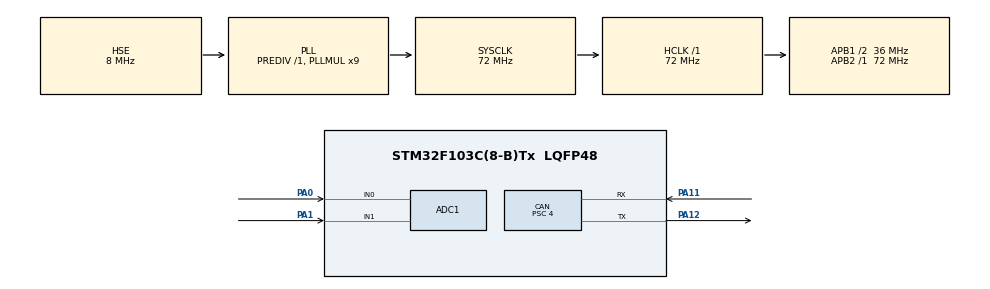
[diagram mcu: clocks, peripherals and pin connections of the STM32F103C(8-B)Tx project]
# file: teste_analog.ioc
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ADC1.Channel-0\#ChannelRegularConversion=ADC_CHANNEL_0
ADC1.ContinuousConvMode=ENABLE
ADC1.NbrOfConversion=1
ADC1.NbrOfConversionFlag=1
ADC1.Rank-0\#ChannelRegularConversion=1
ADC1.SamplingTime-0\#ChannelRegularConversion=ADC_SAMPLETIME_55CYCLES_5
ADC1.master=1
CAN.BS1=CAN_BS1_15TQ
CAN.BS2=CAN_BS2_2TQ
CAN.CalculateBaudRate=500000
CAN.CalculateTimeBit=2000
CAN.CalculateTimeQuantum=111.11111111111111
CAN.Prescaler=4
Mcu.Family=STM32F1
Mcu.Name=STM32F103C(8-B)Tx
Mcu.Package=LQFP48
NVIC.PriorityGroup=NVIC_PRIORITYGROUP_4
PA0-WKUP.Signal=ADCx_IN0
PA1.Signal=ADCx_IN1
PA11.Mode=CAN_Activate
PA11.Signal=CAN_RX
PA12.Mode=CAN_Activate
PA12.Signal=CAN_TX
PA13.Mode=Serial_Wire
PA13.Signal=SYS_JTMS-SWDIO
PA14.Mode=Serial_Wire
PA14.Signal=SYS_JTCK-SWCLK
PD0-OSC_IN.Mode=HSE-External-Oscillator
PD0-OSC_IN.Signal=RCC_OSC_IN
PD1-OSC_OUT.Mode=HSE-External-Oscillator
PD1-OSC_OUT.Signal=RCC_OSC_OUT
ProjectManager.HeapSize=0x200
ProjectManager.StackSize=0x400
ProjectManager.TargetToolchain=STM32CubeIDE
RCC.ADCPresc=RCC_ADCPCLK2_DIV6
RCC.AHBFreq_Value=72000000
RCC.APB1CLKDivider=RCC_HCLK_DIV2
RCC.APB1Freq_Value=36000000
RCC.APB1TimFreq_Value=72000000
RCC.APB2Freq_Value=72000000
RCC.APB2TimFreq_Value=72000000
RCC.HCLKFreq_Value=72000000
RCC.PLLMUL=RCC_PLL_MUL9
RCC.PLLSourceVirtual=RCC_PLLSOURCE_HSE
RCC.SYSCLKFreq_VALUE=72000000
RCC.SYSCLKSource=RCC_SYSCLKSOURCE_PLLCLK
RCC.USBFreq_Value=72000000
SH.ADCx_IN0.0=ADC1_IN0,IN0
SH.ADCx_IN1.0=ADC1_IN1,IN1
board=custom

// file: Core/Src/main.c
/* USER CODE BEGIN Header */
/**
  ******************************************************************************
  * @file           : main.c
  * @brief          : Nó Analógico — Hall Acel/Freio + Pressão Freio Diant/Tras
  *
  * Sistema de Telemetria UFS-01B | Fórmula Route UFSCar
  *
  * Frame CAN transmitido (conforme Documento de Decisões Técnicas v2.0):
  *
  *   ID 0x202 | DLC 8 | hall_acel_H,   hall_acel_L,
  *                       hall_freio_H,  hall_freio_L,
  *                       pfreio_diant_H, pfreio_diant_L,
  *                       pfreio_tras_H,  pfreio_tras_L
  *
  * Bit rate CAN : 500 kbps  (PCLK1 = 36 MHz, Prescaler=4, BS1=15TQ, BS2=2TQ)
  * Pinos CAN    : PA11 = CAN_RX  |  PA12 = CAN_TX
  *
  * Sensores:
  *   PA0 → Hall Acelerador          (0–5V analógico, ADC CH0)
  *   PA1 → Hall Freio               (0–5V analógico, ADC CH1)
  *   PA2 → Pressão Freio Dianteiro  (0–5V analógico, ADC CH2)
  *   PA3 → Pressão Freio Traseiro   (0–5V analógico, ADC CH3)
  *
  * ADC:
  *   Resolução  : 12 bits (0–4095)
  *   Scan Mode  : ENABLE (leitura sequencial de 4 canais)
  *   Clock ADC  : APB2/6 = 72 MHz / 6 = 12 MHz
  *   Sampling   : 55.5 ciclos → ~4.6 µs por canal
  *
  * Conversão no receptor:
  *   valor_pct = (adc_raw * 99.0) / 4095.0   → 0–99%
  *
  * Taxa de envio : 50 Hz (20 ms) conforme documento
  ******************************************************************************
  */
/* USER CODE END Header */

#include "main.h"
#include <string.h>

/* USER CODE BEGIN PTD */

/** @brief Códigos de erro do sistema para diagnóstico via LED */
typedef enum {
    ERR_NONE     = 0,
    ERR_ADC_INIT = 1,   /* Falha na inicialização do ADC                     */
    ERR_ADC_READ = 2,   /* Timeout ou falha na conversão ADC                 */
    ERR_CAN_INIT = 3,   /* Falha na inicialização do periférico CAN          */
    ERR_CAN_TX   = 4,   /* Timeout ao transmitir frame CAN (sem ACK?)        */
    ERR_HAL      = 5    /* Erro genérico da HAL                              */
} SystemError_t;

/** @brief Leitura raw dos sensores analógicos (12 bits, 0–4095) */
typedef struct {
    uint16_t hallAcel;      /* PA0 → Hall Acelerador                */
    uint16_t hallFreio;     /* PA1 → Hall Freio                     */
    uint16_t pFreioDiant;   /* PA2 → Pressão Freio Dianteiro        */
    uint16_t pFreioTras;    /* PA3 → Pressão Freio Traseiro         */
} LeituraAnalog_t;

/* USER CODE END PTD */

/* USER CODE BEGIN PD */

/* ---------- CAN ID (Documento v2.0) ---------- */
#define CAN_ID_PEDAIS         0x202   /* Hall Acel + Freio (DLC 8)            */

/* ---------- Temporização ---------- */
#define ADC_PERIOD_MS         20      /* 50 Hz conforme documento             */
#define CAN_TX_TIMEOUT_MS     5       /* Timeout para esperar mailbox livre   */
#define ADC_POLL_TIMEOUT_MS   10      /* Timeout para conversão ADC           */

/* ---------- ADC ---------- */
#define ADC_NUM_CHANNELS      4       /* CH0=Acel, CH1=Freio, CH2=PFrDiant, CH3=PFrTras */

/* ---------- Filtro média móvel (anti-ruído) ---------- */
#define ADC_FILTER_SAMPLES    4       /* Média de 4 leituras por ciclo        */

/* ---------- LED Heartbeat (PC13 na Blue Pill, ativo LOW) ---------- */
#define LED_PORT              GPIOC
#define LED_PIN               GPIO_PIN_13

/* USER CODE END PD */

ADC_HandleTypeDef hadc1;
CAN_HandleTypeDef hcan;

/* USER CODE BEGIN PV */
static volatile SystemError_t g_lastError    = ERR_NONE;
static volatile uint32_t      g_canTxErrors  = 0;
static volatile uint32_t      g_adcErrors    = 0;
/* USER CODE END PV */

void SystemClock_Config(void);
static void MX_GPIO_Init(void);
static void MX_ADC1_Init(void);
static void MX_CAN_Init(void);

/* USER CODE BEGIN PFP */
static HAL_StatusTypeDef ADC_ReadAll(LeituraAnalog_t *out);
static HAL_StatusTypeDef ADC_ReadFiltered(LeituraAnalog_t *out);
static HAL_StatusTypeDef CAN_SendPedais(const LeituraAnalog_t *analog);
static HAL_StatusTypeDef CAN_WaitMailbox(uint32_t timeout_ms);
static void              ErrorBlink(SystemError_t code);
/* USER CODE END PFP */

/* USER CODE BEGIN 0 */

/* ==========================================================================
 * ADC — Leitura sequencial de 2 canais via Scan Mode
 *
 * CORREÇÕES vs. código original:
 *   1. ScanConvMode mudado de DISABLE → ENABLE
 *   2. NbrOfConversion mudado de 1 → 2
 *   3. DMA removido (nunca estava conectado ao ADC, gerava IRQ fantasma)
 *   4. Timeout de 10ms por canal em vez de HAL_MAX_DELAY
 *   5. Adicionada média móvel de 4 amostras para reduzir ruído
 * ========================================================================== */

/**
 * @brief  Lê os 4 canais ADC sequencialmente.
 *
 *         CH0 → PA0 → Hall Acelerador
 *         CH1 → PA1 → Hall Freio
 *         CH2 → PA2 → Pressão Freio Dianteiro
 *         CH3 → PA3 → Pressão Freio Traseiro
 *
 * @param  out  Ponteiro para estrutura de saída com valores raw (0–4095)
 * @retval HAL_OK em sucesso, HAL_ERROR/HAL_TIMEOUT em falha
 */
static HAL_StatusTypeDef ADC_ReadAll(LeituraAnalog_t *out)
{
    ADC_ChannelConfTypeDef sConfig = {0};
    HAL_StatusTypeDef status;

    sConfig.SamplingTime = ADC_SAMPLETIME_55CYCLES_5;
    sConfig.Rank         = ADC_REGULAR_RANK_1;

    /* ===== Canal 0: Hall Acelerador (PA0) ===== */
    sConfig.Channel = ADC_CHANNEL_0;
    if (HAL_ADC_ConfigChannel(&hadc1, &sConfig) != HAL_OK) {
        g_adcErrors++;
        memset(out, 0, sizeof(*out));
        return HAL_ERROR;
    }

    if (HAL_ADC_Start(&hadc1) != HAL_OK) {
        g_adcErrors++;
        memset(out, 0, sizeof(*out));
        return HAL_ERROR;
    }

    status = HAL_ADC_PollForConversion(&hadc1, ADC_POLL_TIMEOUT_MS);
    if (status != HAL_OK) {
        g_adcErrors++;
        HAL_ADC_Stop(&hadc1);
        memset(out, 0, sizeof(*out));
        return status;
    }
    out->hallAcel = (uint16_t)HAL_ADC_GetValue(&hadc1);
    HAL_ADC_Stop(&hadc1);

    /* ===== Canal 1: Hall Freio (PA1) ===== */
    sConfig.Channel = ADC_CHANNEL_1;
    if (HAL_ADC_ConfigChannel(&hadc1, &sConfig) != HAL_OK) {
        g_adcErrors++;
        out->hallFreio = 0;
        return HAL_ERROR;
    }

    if (HAL_ADC_Start(&hadc1) != HAL_OK) {
        g_adcErrors++;
        out->hallFreio = 0;
        return HAL_ERROR;
    }

    status = HAL_ADC_PollForConversion(&hadc1, ADC_POLL_TIMEOUT_MS);
    if (status != HAL_OK) {
        g_adcErrors++;
        HAL_ADC_Stop(&hadc1);
        out->hallFreio = 0;
        return status;
    }
    out->hallFreio = (uint16_t)HAL_ADC_GetValue(&hadc1);
    HAL_ADC_Stop(&hadc1);

    /* ===== Canal 2: Pressão Freio Dianteiro (PA2) ===== */
    sConfig.Channel = ADC_CHANNEL_2;
    if (HAL_ADC_ConfigChannel(&hadc1, &sConfig) != HAL_OK) {
        g_adcErrors++;
        out->pFreioDiant = 0;
        return HAL_ERROR;
    }

    if (HAL_ADC_Start(&hadc1) != HAL_OK) {
        g_adcErrors++;
        out->pFreioDiant = 0;
        return HAL_ERROR;
    }

    status = HAL_ADC_PollForConversion(&hadc1, ADC_POLL_TIMEOUT_MS);
    if (status != HAL_OK) {
        g_adcErrors++;
        HAL_ADC_Stop(&hadc1);
        out->pFreioDiant = 0;
        return status;
    }
    out->pFreioDiant = (uint16_t)HAL_ADC_GetValue(&hadc1);
    HAL_ADC_Stop(&hadc1);

    /* ===== Canal 3: Pressão Freio Traseiro (PA3) ===== */
    sConfig.Channel = ADC_CHANNEL_3;
    if (HAL_ADC_ConfigChannel(&hadc1, &sConfig) != HAL_OK) {
        g_adcErrors++;
        out->pFreioTras = 0;
        return HAL_ERROR;
    }

    if (HAL_ADC_Start(&hadc1) != HAL_OK) {
        g_adcErrors++;
        out->pFreioTras = 0;
        return HAL_ERROR;
    }

    status = HAL_ADC_PollForConversion(&hadc1, ADC_POLL_TIMEOUT_MS);
    if (status != HAL_OK) {
        g_adcErrors++;
        HAL_ADC_Stop(&hadc1);
        out->pFreioTras = 0;
        return status;
    }
    out->pFreioTras = (uint16_t)HAL_ADC_GetValue(&hadc1);
    HAL_ADC_Stop(&hadc1);

    return HAL_OK;
}

/**
 * @brief  Lê os 2 canais ADC com média móvel de N amostras.
 *         Reduz ruído do sinal analógico sem custo de hardware.
 *
 * @param  out  Ponteiro para estrutura com média dos valores raw
 * @retval HAL_OK se todas as leituras OK, último erro caso contrário
 */
static HAL_StatusTypeDef ADC_ReadFiltered(LeituraAnalog_t *out)
{
    uint32_t sumAcel        = 0;
    uint32_t sumFreio       = 0;
    uint32_t sumPFreioDiant = 0;
    uint32_t sumPFreioTras  = 0;
    uint8_t  validSamples = 0;
    HAL_StatusTypeDef lastStatus = HAL_OK;

    for (uint8_t i = 0; i < ADC_FILTER_SAMPLES; i++) {
        LeituraAnalog_t raw;
        HAL_StatusTypeDef status = ADC_ReadAll(&raw);

        if (status == HAL_OK) {
            sumAcel        += raw.hallAcel;
            sumFreio       += raw.hallFreio;
            sumPFreioDiant += raw.pFreioDiant;
            sumPFreioTras  += raw.pFreioTras;
            validSamples++;
        } else {
            lastStatus = status;
        }
    }

    if (validSamples > 0) {
        out->hallAcel     = (uint16_t)(sumAcel        / validSamples);
        out->hallFreio    = (uint16_t)(sumFreio       / validSamples);
        out->pFreioDiant  = (uint16_t)(sumPFreioDiant / validSamples);
        out->pFreioTras   = (uint16_t)(sumPFreioTras  / validSamples);
        return HAL_OK;
    }

    /* Nenhuma leitura válida */
    memset(out, 0, sizeof(*out));
    return lastStatus;
}

/* ==========================================================================
 * CAN — Transmissão conforme Documento de Decisões Técnicas v2.0
 *
 *  Frame 0x202 (DLC 8):
 *    Bytes 0-1: Hall Acelerador          (big-endian, 0–4095)
 *    Bytes 2-3: Hall Freio               (big-endian, 0–4095)
 *    Bytes 4-5: Pressão Freio Dianteiro  (big-endian, 0–4095)
 *    Bytes 6-7: Pressão Freio Traseiro   (big-endian, 0–4095)
 * ========================================================================== */

/**
 * @brief  Aguarda mailbox CAN livre com timeout.
 * @retval HAL_OK se mailbox disponível, HAL_TIMEOUT se esgotou.
 */
static HAL_StatusTypeDef CAN_WaitMailbox(uint32_t timeout_ms)
{
    uint32_t start = HAL_GetTick();

    while (HAL_CAN_GetTxMailboxesFreeLevel(&hcan) == 0) {
        if ((HAL_GetTick() - start) >= timeout_ms) {
            return HAL_TIMEOUT;
        }
    }
    return HAL_OK;
}

/**
 * @brief  Envia frame 0x202 com dados dos pedais.
 * @retval HAL_OK se enviado, HAL_ERROR/HAL_TIMEOUT caso contrário.
 */
static HAL_StatusTypeDef CAN_SendPedais(const LeituraAnalog_t *analog)
{
    CAN_TxHeaderTypeDef txHeader;
    uint8_t txData[8];
    uint32_t txMailbox;
    HAL_StatusTypeDef status;

    txHeader.StdId              = CAN_ID_PEDAIS;
    txHeader.DLC                = 8;
    txHeader.RTR                = CAN_RTR_DATA;
    txHeader.IDE                = CAN_ID_STD;
    txHeader.TransmitGlobalTime = DISABLE;
    txHeader.ExtId              = 0;

    /* Bytes 0-1: Hall Acelerador (big-endian) */
    txData[0] = (uint8_t)((analog->hallAcel  >> 8) & 0xFF);
    txData[1] = (uint8_t)( analog->hallAcel        & 0xFF);

    /* Bytes 2-3: Hall Freio (big-endian) */
    txData[2] = (uint8_t)((analog->hallFreio >> 8) & 0xFF);
    txData[3] = (uint8_t)( analog->hallFreio       & 0xFF);

    /* Bytes 4-5: Pressão Freio Dianteiro (big-endian) */
    txData[4] = (uint8_t)((analog->pFreioDiant >> 8) & 0xFF);
    txData[5] = (uint8_t)( analog->pFreioDiant       & 0xFF);

    /* Bytes 6-7: Pressão Freio Traseiro (big-endian) */
    txData[6] = (uint8_t)((analog->pFreioTras >> 8) & 0xFF);
    txData[7] = (uint8_t)( analog->pFreioTras       & 0xFF);

    if (CAN_WaitMailbox(CAN_TX_TIMEOUT_MS) != HAL_OK) {
        g_canTxErrors++;
        g_lastError = ERR_CAN_TX;
        return HAL_TIMEOUT;
    }

    status = HAL_CAN_AddTxMessage(&hcan, &txHeader, txData, &txMailbox);
    if (status != HAL_OK) {
        g_canTxErrors++;
        g_lastError = ERR_CAN_TX;
        return status;
    }

    return HAL_OK;
}

/* ==========================================================================
 * Error Handler com LED — pisca N vezes conforme código de erro
 *
 *   1 piscada  = ADC init falhou
 *   2 piscadas = ADC leitura falhou (timeout na conversão)
 *   3 piscadas = CAN init falhou
 *   4 piscadas = CAN TX timeout (sem ACK — outro nó não no barramento?)
 *   5 piscadas = HAL genérico
 *
 *   Padrão: pisca N vezes rápido, pausa 1s, repete.
 *   NUNCA RETORNA — é um trap de erro fatal.
 * ========================================================================== */
static void ErrorBlink(SystemError_t code)
{
    uint8_t n = (uint8_t)code;
    if (n == 0) n = 5;

    /* Garante que o LED está configurado mesmo se GPIO_Init falhou */
    __HAL_RCC_GPIOC_CLK_ENABLE();
    GPIO_InitTypeDef gpio = {0};
    gpio.Pin   = LED_PIN;
    gpio.Mode  = GPIO_MODE_OUTPUT_PP;
    gpio.Speed = GPIO_SPEED_FREQ_LOW;
    HAL_GPIO_Init(LED_PORT, &gpio);

    while (1) {
        for (uint8_t i = 0; i < n; i++) {
            HAL_GPIO_WritePin(LED_PORT, LED_PIN, GPIO_PIN_RESET); /* LED ON  */
            HAL_Delay(150);
            HAL_GPIO_WritePin(LED_PORT, LED_PIN, GPIO_PIN_SET);   /* LED OFF */
            HAL_Delay(150);
        }
        HAL_Delay(1000);
    }
}

/* USER CODE END 0 */

int main(void)
{
  /* MCU Configuration -------------------------------------------------------*/
  HAL_Init();
  SystemClock_Config();

  /* Initialize all configured peripherals */
  MX_GPIO_Init();
  MX_ADC1_Init();
  MX_CAN_Init();

  /* USER CODE BEGIN 2 */

  /* LED de heartbeat: acende durante init */
  HAL_GPIO_WritePin(LED_PORT, LED_PIN, GPIO_PIN_RESET); /* ON */

  /* Calibração do ADC (recomendado pelo Reference Manual antes do primeiro uso) */
  HAL_ADCEx_Calibration_Start(&hadc1);

  /* Configura filtro CAN: aceitar tudo (este nó só transmite) */
  CAN_FilterTypeDef canFilter = {0};
  canFilter.FilterBank           = 0;
  canFilter.FilterMode           = CAN_FILTERMODE_IDMASK;
  canFilter.FilterScale          = CAN_FILTERSCALE_32BIT;
  canFilter.FilterIdHigh         = 0x0000;
  canFilter.FilterIdLow          = 0x0000;
  canFilter.FilterMaskIdHigh     = 0x0000;
  canFilter.FilterMaskIdLow      = 0x0000;
  canFilter.FilterFIFOAssignment = CAN_RX_FIFO0;
  canFilter.FilterActivation     = ENABLE;
  canFilter.SlaveStartFilterBank = 14;

  if (HAL_CAN_ConfigFilter(&hcan, &canFilter) != HAL_OK) {
      g_lastError = ERR_CAN_INIT;
      ErrorBlink(ERR_CAN_INIT);
  }

  /* Inicia periférico CAN */
  if (HAL_CAN_Start(&hcan) != HAL_OK) {
      g_lastError = ERR_CAN_INIT;
      ErrorBlink(ERR_CAN_INIT);
  }

  /* Teste rápido do ADC: lê uma vez para validar que os canais respondem */
  {
      LeituraAnalog_t teste;
      HAL_StatusTypeDef adcTest = ADC_ReadAll(&teste);
      if (adcTest != HAL_OK) {
          g_lastError = ERR_ADC_READ;
          ErrorBlink(ERR_ADC_READ);
      }
  }

  /* LED apaga — init OK */
  HAL_GPIO_WritePin(LED_PORT, LED_PIN, GPIO_PIN_SET); /* OFF */

  /* USER CODE END 2 */

  /* Infinite loop -----------------------------------------------------------*/
  /* USER CODE BEGIN WHILE */

  uint32_t lastTick    = HAL_GetTick();
  uint32_t ledToggleCt = 0;

  while (1)
  {
      uint32_t now = HAL_GetTick();

      /* Controla período de 20 ms (50 Hz) sem drift acumulado */
      if ((now - lastTick) >= ADC_PERIOD_MS)
      {
          lastTick += ADC_PERIOD_MS;

          LeituraAnalog_t analog;

          /* Lê sensores com filtro de média — se falhar, envia zeros */
          ADC_ReadFiltered(&analog);

          /* Transmite pela CAN */
          CAN_SendPedais(&analog);

          /* Heartbeat: toggle LED a cada 500 ms (25 ciclos de 20 ms) */
          ledToggleCt++;
          if (ledToggleCt >= 25) {
              ledToggleCt = 0;
              HAL_GPIO_TogglePin(LED_PORT, LED_PIN);
          }
      }

    /* USER CODE END WHILE */
  }
}

void SystemClock_Config(void)
{
  RCC_OscInitTypeDef RCC_OscInitStruct       = {0};
  RCC_ClkInitTypeDef RCC_ClkInitStruct       = {0};
  RCC_PeriphCLKInitTypeDef PeriphClkInit      = {0};

  RCC_OscInitStruct.OscillatorType  = RCC_OSCILLATORTYPE_HSE;
  RCC_OscInitStruct.HSEState        = RCC_HSE_ON;
  RCC_OscInitStruct.HSEPredivValue  = RCC_HSE_PREDIV_DIV1;
  RCC_OscInitStruct.HSIState        = RCC_HSI_ON;
  RCC_OscInitStruct.PLL.PLLState    = RCC_PLL_ON;
  RCC_OscInitStruct.PLL.PLLSource   = RCC_PLLSOURCE_HSE;
  RCC_OscInitStruct.PLL.PLLMUL      = RCC_PLL_MUL9;
  if (HAL_RCC_OscConfig(&RCC_OscInitStruct) != HAL_OK)
  {
      Error_Handler();
  }

  RCC_ClkInitStruct.ClockType      = RCC_CLOCKTYPE_HCLK  | RCC_CLOCKTYPE_SYSCLK
                                   | RCC_CLOCKTYPE_PCLK1 | RCC_CLOCKTYPE_PCLK2;
  RCC_ClkInitStruct.SYSCLKSource   = RCC_SYSCLKSOURCE_PLLCLK;
  RCC_ClkInitStruct.AHBCLKDivider  = RCC_SYSCLK_DIV1;
  RCC_ClkInitStruct.APB1CLKDivider = RCC_HCLK_DIV2;
  RCC_ClkInitStruct.APB2CLKDivider = RCC_HCLK_DIV1;
  if (HAL_RCC_ClockConfig(&RCC_ClkInitStruct, FLASH_LATENCY_2) != HAL_OK)
  {
      Error_Handler();
  }

  /* ADC clock = APB2 / 6 = 72 MHz / 6 = 12 MHz */
  PeriphClkInit.PeriphClockSelection = RCC_PERIPHCLK_ADC;
  PeriphClkInit.AdcClockSelection    = RCC_ADCPCLK2_DIV6;
  if (HAL_RCCEx_PeriphCLKConfig(&PeriphClkInit) != HAL_OK)
  {
      Error_Handler();
  }
}

/**
  * @brief ADC1 Initialization
  *
  * 4 canais sequenciais (reconfigurados a cada leitura em ADC_ReadAll):
  *   Rank 1: CH0 (PA0) → Hall Acelerador
  *   Rank 2: CH1 (PA1) → Hall Freio
  *   Rank 3: CH2 (PA2) → Pressão Freio Dianteiro
  *   Rank 4: CH3 (PA3) → Pressão Freio Traseiro
  *
  * Sampling: 55.5 ciclos @ 12 MHz = ~4.6 µs por canal
  *
  * NOTA: NÃO usar DMA. A leitura é feita por polling com
  *       HAL_ADC_PollForConversion() — simples e confiável.
  */
static void MX_ADC1_Init(void)
{
  ADC_ChannelConfTypeDef sConfig = {0};

  hadc1.Instance                   = ADC1;
  hadc1.Init.ScanConvMode          = ADC_SCAN_DISABLE;     /* Single channel    */
  hadc1.Init.ContinuousConvMode    = DISABLE;
  hadc1.Init.DiscontinuousConvMode = DISABLE;
  hadc1.Init.ExternalTrigConv      = ADC_SOFTWARE_START;
  hadc1.Init.DataAlign             = ADC_DATAALIGN_RIGHT;
  hadc1.Init.NbrOfConversion       = 1;     /* 2 canais          */
  if (HAL_ADC_Init(&hadc1) != HAL_OK)
  {
      Error_Handler();
  }

  /* Rank 1: PA0 → Hall Acelerador (CH0) */
  sConfig.Channel      = ADC_CHANNEL_0;
  sConfig.Rank         = ADC_REGULAR_RANK_1;
  sConfig.SamplingTime = ADC_SAMPLETIME_55CYCLES_5;
  if (HAL_ADC_ConfigChannel(&hadc1, &sConfig) != HAL_OK)
  {
      Error_Handler();
  }

  /* Rank 2: PA1 → Hall Freio (CH1) */
  sConfig.Channel = ADC_CHANNEL_1;
  sConfig.Rank    = ADC_REGULAR_RANK_2;
  if (HAL_ADC_ConfigChannel(&hadc1, &sConfig) != HAL_OK)
  {
      Error_Handler();
  }

  /* Rank 3: PA2 → Pressão Freio Dianteiro (CH2) */
  sConfig.Channel = ADC_CHANNEL_2;
  sConfig.Rank    = ADC_REGULAR_RANK_3;
  if (HAL_ADC_ConfigChannel(&hadc1, &sConfig) != HAL_OK)
  {
      Error_Handler();
  }

  /* Rank 4: PA3 → Pressão Freio Traseiro (CH3) */
  sConfig.Channel = ADC_CHANNEL_3;
  sConfig.Rank    = ADC_REGULAR_RANK_4;
  if (HAL_ADC_ConfigChannel(&hadc1, &sConfig) != HAL_OK)
  {
      Error_Handler();
  }
}

static void MX_CAN_Init(void)
{
  hcan.Instance                  = CAN1;
  hcan.Init.Prescaler            = 4;
  hcan.Init.Mode                 = CAN_MODE_NORMAL;
  hcan.Init.SyncJumpWidth        = CAN_SJW_1TQ;
  hcan.Init.TimeSeg1             = CAN_BS1_15TQ;
  hcan.Init.TimeSeg2             = CAN_BS2_2TQ;
  hcan.Init.TimeTriggeredMode    = DISABLE;
  hcan.Init.AutoBusOff           = ENABLE;        /* Recupera automaticamente      */
  hcan.Init.AutoWakeUp           = DISABLE;
  hcan.Init.AutoRetransmission   = DISABLE;        /* DISABLE para bancada          */
  hcan.Init.ReceiveFifoLocked    = DISABLE;
  hcan.Init.TransmitFifoPriority = DISABLE;

  if (HAL_CAN_Init(&hcan) != HAL_OK)
  {
      Error_Handler();
  }
}

static void MX_GPIO_Init(void)
{
  GPIO_InitTypeDef GPIO_InitStruct = {0};

  /* Habilita clocks dos portos utilizados */
  __HAL_RCC_GPIOA_CLK_ENABLE();
  __HAL_RCC_GPIOB_CLK_ENABLE();
  __HAL_RCC_GPIOC_CLK_ENABLE();
  __HAL_RCC_GPIOD_CLK_ENABLE();

  /* LED Heartbeat — PC13 (Blue Pill onboard, ativo LOW) */
  HAL_GPIO_WritePin(LED_PORT, LED_PIN, GPIO_PIN_SET); /* OFF inicialmente */

  GPIO_InitStruct.Pin   = LED_PIN;
  GPIO_InitStruct.Mode  = GPIO_MODE_OUTPUT_PP;
  GPIO_InitStruct.Pull  = GPIO_NOPULL;
  GPIO_InitStruct.Speed = GPIO_SPEED_FREQ_LOW;
  HAL_GPIO_Init(LED_PORT, &GPIO_InitStruct);
}

void Error_Handler(void)
{
  g_lastError = ERR_HAL;
  __disable_irq();
  ErrorBlink(ERR_HAL);
}
